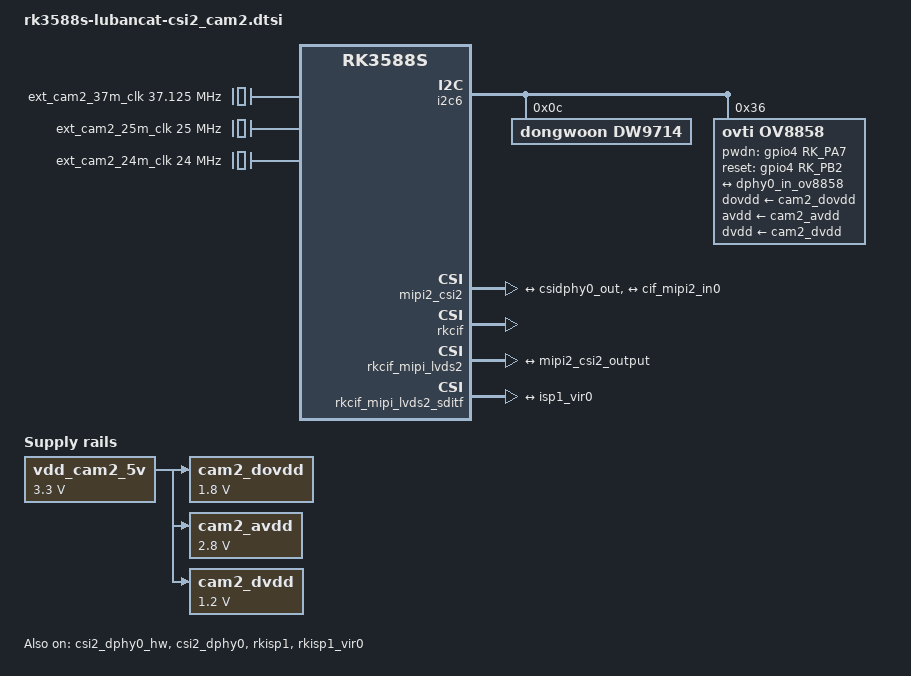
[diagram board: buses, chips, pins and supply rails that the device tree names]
// SPDX-License-Identifier: (GPL-2.0+ OR MIT)
/*
 * Copyright (c) 2020 Rockchip Electronics Co., Ltd.
 *
 */

/ {
	ext_cam2_37m_clk: external-camera-37m-clock {
		compatible = "fixed-clock";
		clock-frequency = <37125000>;
		clock-output-names = "ext_cam_37m_clk";
		#clock-cells = <0>;
	};

	ext_cam2_25m_clk: external-camera-25m-clock {
		compatible = "fixed-clock";
		clock-frequency = <25000000>;
		clock-output-names = "ext_cam_25m_clk";
		#clock-cells = <0>;
	};

	ext_cam2_24m_clk: external-camera-24m-clock {
		compatible = "fixed-clock";
		#clock-cells = <0>;
		clock-frequency = <24000000>;
		clock-output-names = "ext_cam_24m_clk";
	};

	vdd_cam2_5v: vdd-cam2-5v-regulator {
		compatible = "regulator-fixed";
		regulator-name = "vdd_cam_5v";
		regulator-always-on;
		regulator-boot-on;
		regulator-min-microvolt = <3300000>;
		regulator-max-microvolt = <3300000>;
	};

	cam2_dovdd: cam2-dovdd {
		compatible = "regulator-fixed";
		regulator-name = "cam_dovdd";
		regulator-always-on;
		regulator-boot-on;
		regulator-min-microvolt = <1800000>;
		regulator-max-microvolt = <1800000>;
		vin-supply = <&vdd_cam2_5v>;
	};

	cam2_avdd: cam2-avdd {
		compatible = "regulator-fixed";
		regulator-name = "cam_avdd";
		regulator-always-on;
		regulator-boot-on;
		regulator-min-microvolt = <2800000>;
		regulator-max-microvolt = <2800000>;
		vin-supply = <&vdd_cam2_5v>;
	};

	cam2_dvdd: cam2-dvdd {
		compatible = "regulator-fixed";
		regulator-name = "cam_dvdd";
		regulator-always-on;
		regulator-boot-on;
		regulator-min-microvolt = <1200000>;
		regulator-max-microvolt = <1200000>;
		vin-supply = <&vdd_cam2_5v>;
	};
};

/* Link path: sensor->csi2_dphy0->mipi2_csi2->rkcif_mipi_lvds2--->rkcif_mipi_lvds2_sditf->rkisp0_vir2 */
&i2c6 {
	status = "okay";
	pinctrl-names = "default";
	pinctrl-0 = <&i2c6m3_xfer>;

	
	dw9714: dw9714@c {
		status = "okay";
		compatible = "dongwoon,dw9714";
		reg = <0xc>;
		rockchip,camera-module-index = <0>;
		rockchip,vcm-max-current = <100>;
		rockchip,vcm-start-current = <0>;
		rockchip,vcm-rated-current = <100>;
		rockchip,vcm-step-mode = <0xd>;
		rockchip,vcm-dlc-enable = <0>;
		rockchip,vcm-mclk = <0>;	
		rockchip,vcm-t-src = <0>;
		rockchip,camera-module-facing = "back";
	};

	ov5647: ov5647@36 {
		compatible = "ovti,ov5647";
		status = "disabled";
		reg = <0x36>;
		clocks = <&ext_cam2_25m_clk>;
		clock-names = "ext_cam_25m_clk";
		pwdn-gpios = <&gpio4 RK_PA7 GPIO_ACTIVE_LOW>;
		lens-focus = <&dw9714>;

		port {
			ov5647_out: endpoint {
				remote-endpoint = <&dphy0_in_ov5647>;
				data-lanes = <1 2>;
			};
		};
	};

	ov5648: camera@36 {
		compatible = "ovti,ov5648";
		status = "disabled";
		reg = <0x36>;
		clocks = <&ext_cam2_24m_clk>;
		clock-names = "xvclk";
		dovdd-supply= <&cam2_dovdd>; /* 1.8v */
		avdd-supply = <&cam2_avdd>;  /* 2.8v */
		dvdd-supply = <&cam2_dvdd>;  /* 1.2v */
		pwdn-gpios = <&gpio4 RK_PA7 GPIO_ACTIVE_HIGH>;
		reset-gpios = <&gpio4 RK_PB2 GPIO_ACTIVE_LOW>;
		rotation = <180>;

		rockchip,camera-module-index = <2>;
		rockchip,camera-module-facing = "back";
		rockchip,camera-module-name = "THDS11073";
		rockchip,camera-module-lens-name = "Largan-40122a1";
		lens-focus = <&dw9714>;

		port {
			/* MIPI CSI-2 bus endpoint */
			ov5648_out: endpoint {
				remote-endpoint = <&dphy0_in_ov5648>;
				clock-lanes = <0>;
				data-lanes = <1 2>;
			};
		};
	};

	ov8858: ov8858@36 {
		compatible = "ovti,ov8858";
		status = "okay";
		reg = <0x36>;
		clocks = <&ext_cam2_24m_clk>;
		clock-names = "xvclk";
		dovdd-supply= <&cam2_dovdd>; /* 1.8v */
		avdd-supply = <&cam2_avdd>;  /* 2.8v */
		dvdd-supply = <&cam2_dvdd>;  /* 1.2v */
		pwdn-gpios = <&gpio4 RK_PA7 GPIO_ACTIVE_HIGH>;
		reset-gpios = <&gpio4 RK_PB2 GPIO_ACTIVE_HIGH>;
		rotation = <180>;

		rockchip,camera-module-index = <2>;
		rockchip,camera-module-facing = "back";
		rockchip,camera-module-name = "HS5885-BNSM1018-V01";
		rockchip,camera-module-lens-name = "default";
		lens-focus = <&dw9714>;

		port {
			/* MIPI CSI-2 bus endpoint */
			ov8858_out: endpoint {
				remote-endpoint = <&dphy0_in_ov8858>;
				clock-lanes = <0>;
				data-lanes = <1 2>;
			};
		};
	};

	ov13850: ov13850@10 {
		compatible = "ovti,ov13850";
		status = "disabled";
		reg = <0x10>;
		clocks = <&ext_cam2_24m_clk>;
		clock-names = "xvclk";
		dovdd-supply= <&cam2_dovdd>; /* 1.8v */
		avdd-supply = <&cam2_avdd>;  /* 2.8v */
		dvdd-supply = <&cam2_dvdd>;  /* 1.2v */
		pwdn-gpios = <&gpio4 RK_PA7 GPIO_ACTIVE_HIGH>;
		reset-gpios = <&gpio4 RK_PB2 GPIO_ACTIVE_HIGH>;
		rotation = <180>;

		rockchip,camera-module-index = <2>;
		rockchip,camera-module-facing = "back";
		rockchip,camera-module-name = "ZC-OV13850R2A-V1";
		rockchip,camera-module-lens-name = "Largan-50064B31";
		lens-focus = <&dw9714>;

		port {
			/* MIPI CSI-2 bus endpoint */
			ov13850_out: endpoint {
				remote-endpoint = <&dphy0_in_ov13850>;
				clock-lanes = <0>;
				data-lanes = <1 2>;
			};
		};
    };

	imx415_2: imx415-2@1a {
		compatible = "sony,imx415";
		status = "disabled";
		reg = <0x1a>;
		clocks = <&ext_cam2_37m_clk>;
		clock-names = "xvclk";
		avdd-supply = <&cam2_avdd>;
		dovdd-supply = <&cam2_dovdd>;
		dvdd-supply = <&cam2_dvdd>;
		reset-gpios = <&gpio1 RK_PB2 GPIO_ACTIVE_LOW>;

		rockchip,camera-module-index = <2>;
		rockchip,camera-module-facing = "back";
		rockchip,camera-module-name = "CMK-OT2022-PX1";
		rockchip,camera-module-lens-name = "IR0147-50IRC-8M-F20";
		port {
			imx415_out2: endpoint {
				remote-endpoint = <&dphy0_in_imx415>;
				data-lanes = <1 2 3 4>;
			};
		};
	};

};

&csi2_dphy0_hw {
	status = "okay";
};

&csi2_dphy0 {
	status = "okay";
	
	ports {
		#address-cells = <1>;
		#size-cells = <0>;

		port@0 {
			reg = <0>;
			#address-cells = <1>;
			#size-cells = <0>;

			dphy0_in_ov5648: endpoint@1 {
				reg = <1>;
				remote-endpoint = <&ov5648_out>;
				data-lanes = <1 2>;
			};

			dphy0_in_ov8858: endpoint@2 {
				reg = <2>;
				remote-endpoint = <&ov8858_out>;
				data-lanes = <1 2>;
			};

			dphy0_in_ov13850: endpoint@3 {
				reg = <3>;
				remote-endpoint = <&ov13850_out>;
				data-lanes = <1 2>;
			};

			dphy0_in_ov5647: endpoint@4 {
				reg = <4>;
				remote-endpoint = <&ov5647_out>;
				data-lanes = <1 2>;
			};

			dphy0_in_imx415: endpoint@5 {
				reg = <5>;
				remote-endpoint = <&imx415_out2>;
				data-lanes = <1 2 3 4>;
			};
		};

		port@1 {
			reg = <1>;
			#address-cells = <1>;
			#size-cells = <0>;

			csidphy0_out: endpoint@0 {
				reg = <0>;
				remote-endpoint = <&mipi2_csi2_input>;
			};
		};
	};
};

&mipi2_csi2 {
	status = "okay";

	ports {
		#address-cells = <1>;
		#size-cells = <0>;

		port@0 {
			reg = <0>;
			#address-cells = <1>;
			#size-cells = <0>;

			mipi2_csi2_input: endpoint@1 {
				reg = <1>;
				remote-endpoint = <&csidphy0_out>;
			};
		};

		port@1 {
			reg = <1>;
			#address-cells = <1>;
			#size-cells = <0>;

			mipi2_csi2_output: endpoint@0 {
				reg = <0>;
				remote-endpoint = <&cif_mipi2_in0>;
			};
		};
	};
};

&rkcif {
	status = "okay";
};

&rkcif_mipi_lvds2 {
	status = "okay";

	port {
		cif_mipi2_in0: endpoint {
			remote-endpoint = <&mipi2_csi2_output>;
		};
	};
};

&rkcif_mipi_lvds2_sditf {
	status = "okay";

	port {
		mipi_lvds2_sditf: endpoint {
			remote-endpoint = <&isp1_vir0>;
		};
	};
};

&rkcif_mmu {
	status = "okay";
};

&rkisp1 {
	status = "okay";
};

&isp1_mmu {
	status = "okay";
};

&rkisp1_vir0 {
	status = "okay";

	port {
		#address-cells = <1>;
		#size-cells = <0>;

		isp1_vir0: endpoint@0 {
			reg = <0>;
			remote-endpoint = <&mipi_lvds2_sditf>;
		};
	};
};

